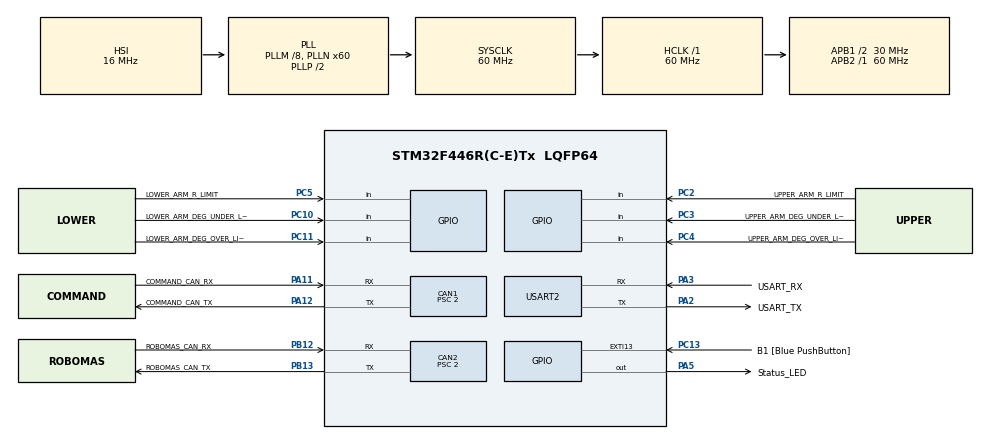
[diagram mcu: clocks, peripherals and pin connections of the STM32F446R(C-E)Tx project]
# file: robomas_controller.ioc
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CAN1.BS1=CAN_BS1_12TQ
CAN1.BS2=CAN_BS2_2TQ
CAN1.CalculateBaudRate=999999
CAN1.CalculateTimeBit=1000
CAN1.CalculateTimeQuantum=66.66666666666667
CAN1.Prescaler=2
CAN2.BS1=CAN_BS1_12TQ
CAN2.BS2=CAN_BS2_2TQ
CAN2.CalculateBaudRate=999999
CAN2.CalculateTimeBit=1000
CAN2.CalculateTimeQuantum=66.66666666666667
CAN2.Prescaler=2
Mcu.Family=STM32F4
Mcu.Name=STM32F446R(C-E)Tx
Mcu.Package=LQFP64
NVIC.CAN1_RX0_IRQn=true\:0\:0\:false\:false\:true\:true\:true\:true
NVIC.CAN2_RX0_IRQn=true\:0\:0\:false\:false\:true\:true\:true\:true
NVIC.PriorityGroup=NVIC_PRIORITYGROUP_0
PA11.GPIO_Label=COMMAND_CAN_RX
PA11.Mode=CAN_Activate
PA11.Signal=CAN1_RX
PA12.GPIO_Label=COMMAND_CAN_TX
PA12.Mode=CAN_Activate
PA12.Signal=CAN1_TX
PA13.GPIO_Label=TMS
PA13.Mode=Serial_Wire
PA13.Signal=SYS_JTMS-SWDIO
PA14.GPIO_Label=TCK
PA14.Mode=Serial_Wire
PA14.Signal=SYS_JTCK-SWCLK
PA2.GPIO_Label=USART_TX
PA2.Mode=Asynchronous
PA2.Signal=USART2_TX
PA3.GPIO_Label=USART_RX
PA3.Mode=Asynchronous
PA3.Signal=USART2_RX
PA5.GPIO_Label=Status_LED
PA5.Signal=GPIO_Output
PB12.GPIO_Label=ROBOMAS_CAN_RX
PB12.Mode=CAN_Activate
PB12.Signal=CAN2_RX
PB13.GPIO_Label=ROBOMAS_CAN_TX
PB13.Mode=CAN_Activate
PB13.Signal=CAN2_TX
PB3.GPIO_Label=SWO
PB3.Signal=SYS_JTDO-SWO
PC10.GPIO_Label=LOWER_ARM_DEG_UNDER_LIMIT
PC10.GPIO_PuPd=GPIO_PULLUP
PC10.Signal=GPIO_Input
PC11.GPIO_Label=LOWER_ARM_DEG_OVER_LIMIT
PC11.GPIO_PuPd=GPIO_PULLUP
PC11.Signal=GPIO_Input
PC13.GPIO_Label=B1 [Blue PushButton]
PC13.GPIO_ModeDefaultEXTI=GPIO_MODE_IT_FALLING
PC13.Signal=GPXTI13
PC14-OSC32_IN.Mode=LSE-External-Oscillator
PC14-OSC32_IN.Signal=RCC_OSC32_IN
PC15-OSC32_OUT.Mode=LSE-External-Oscillator
PC15-OSC32_OUT.Signal=RCC_OSC32_OUT
PC2.GPIO_Label=UPPER_ARM_R_LIMIT
PC2.GPIO_PuPd=GPIO_PULLUP
PC2.Signal=GPIO_Input
PC3.GPIO_Label=UPPER_ARM_DEG_UNDER_LIMIT
PC3.GPIO_PuPd=GPIO_PULLUP
PC3.Signal=GPIO_Input
PC4.GPIO_Label=UPPER_ARM_DEG_OVER_LIMIT
PC4.GPIO_PuPd=GPIO_PULLUP
PC4.Signal=GPIO_Input
PC5.GPIO_Label=LOWER_ARM_R_LIMIT
PC5.GPIO_PuPd=GPIO_PULLUP
PC5.Signal=GPIO_Input
PH0-OSC_IN.Mode=HSE-External-Oscillator
PH0-OSC_IN.Signal=RCC_OSC_IN
PH1-OSC_OUT.Mode=HSE-External-Oscillator
PH1-OSC_OUT.Signal=RCC_OSC_OUT
ProjectManager.HeapSize=0x200
ProjectManager.StackSize=0x400
ProjectManager.TargetToolchain=CMake
RCC.48MHZClocksFreq_Value=84000000
RCC.AHBFreq_Value=60000000
RCC.APB1CLKDivider=RCC_HCLK_DIV2
RCC.APB1Freq_Value=30000000
RCC.APB1TimFreq_Value=60000000
RCC.APB2Freq_Value=60000000
RCC.APB2TimFreq_Value=60000000
RCC.CortexFreq_Value=60000000
RCC.FLatency-AdvancedSettings=FLASH_LATENCY_1
RCC.HCLKFreq_Value=60000000
RCC.HSE_VALUE=8000000
RCC.HSI_VALUE=16000000
RCC.PLLM=8
RCC.PLLN=60
RCC.SYSCLKFreq_VALUE=60000000
RCC.SYSCLKSource=RCC_SYSCLKSOURCE_PLLCLK
RCC.USBFreq_Value=60000000
RCC.VCOOutputFreq_Value=120000000
USART2.VirtualMode=VM_ASYNC
board=NUCLEO-F446RE

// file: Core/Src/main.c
/* USER CODE BEGIN Header */
/**
  ******************************************************************************
  * @file           : main.c
  * @brief          : Main program body
  ******************************************************************************
  * @attention
  *
  * Copyright (c) 2026 STMicroelectronics.
  * All rights reserved.
  *
  * This software is licensed under terms that can be found in the LICENSE file
  * in the root directory of this software component.
  * If no LICENSE file comes with this software, it is provided AS-IS.
  *
  ******************************************************************************
  */
/* USER CODE END Header */
#include "main.h"

/* USER CODE BEGIN Includes */
#include "arm.h"
#include "can_protocol.h"
#include "coordinate.h"
#include "stm32f4xx_hal.h"
#include "stm32f4xx_hal_can.h"
#include "stm32f4xx_hal_gpio.h"
#include "stm_can.h"
#include <math.h>
#include <stdint.h>
#include <string.h>
#include <stdbool.h>
/* USER CODE END Includes */

/* USER CODE BEGIN PTD */
typedef struct
{
    uint16_t angle_raw;

    int32_t total_angle;

    int16_t rpm;
    int16_t current;
    uint8_t temperature;

    uint16_t last_angle; //to calc total_angle

    uint32_t last_update; // 最後に受信した時間 HAL_GetTick()

    bool initialized; //初回ロボマスフィードバックを受けたか
} robomas_feedback_t;

/**
* @param double p;   比例ゲイン
* @param double i;   積分ゲイン
* @param double d;   微分ゲイン
* @param double mv;  manipulated value 操作量
* @param double sv;  set value 目標値
* @param double it;  integral term 積分項 偏差の総和
* @param double pe;  previous error 直前の偏差
* @param double pv;  process value 制御量 フィードバック
* @param uint32_t last_update;   最後に更新した時間 HAL_GetTick()
**/
typedef struct{
  double p;   //比例ゲイン
  double i;   //積分ゲイン
  double d;   //微分ゲイン
  double mv;  //manipulated value 操作量
  double sv;  //set value 目標値
  double it;  //integral term 積分項 偏差の総和
  double pe;  //previous error 直前の偏差
  double pv;  //process value 制御量 フィードバック
  uint32_t last_update;  // 最後に更新した時間 HAL_GetTick()
}pid_t;

/**
* @param ROBOMAS_INITIAL, // 初回起動時状態．何もトルクを送らない
* @param ROBOMAS_HOMING, // 速度制御によって，リミットスイッチ位置まで回転する
* @param ROBOMAS_IDLE,   // ホーミング終了による他のホーミングを待機
* @param ROBOMAS_READY,  // ユーザが制御可能な状態
* @param ROBOMAS_ERROR,  // フィードバックを受け取れず，制御不能な状態
 */
typedef enum{
  ROBOMAS_INITIAL,  // 初回起動時状態
  ROBOMAS_HOMING,   // 速度制御によって，リミットスイッチ位置まで回転する
  ROBOMAS_IDLE,     // ホーミング終了による他のホーミングを待機
  ROBOMAS_READY,    // ユーザが制御可能な状態
  ROBOMAS_ERROR,    // 制御不能状態
}robomas_state_t;

/**
* @param robomas_feedback_t feedback
* @param pid_t rpm_pid   モーターrpmの制御
* @param pid_t ang_pid   モーター角(resolution 8192)の制御
* @param robomas_state_t state     ロボマス制御状態
* @param in32_t total_angle_home 極座標の原点に対応するモーター角(一周あたりの解像度 8192)
* @param int16_t tx_torque     ロボマスへ送るトルク値
* @param double gear_ratio    遊星軸/モーター軸 ギア比
*/
typedef struct{
  robomas_feedback_t feedback;
  pid_t rpm_pid;  //モーターrpmの制御
  pid_t ang_pid;  //モーター角(resolution 8192)の制御
  robomas_state_t state;
  int32_t total_angle_home;//極座標の原点に対応するモーター角(一周あたりの解像度 8192)
  int16_t tx_torque;
  double gear_ratio;  // 遊星軸/モーター軸 ギア比

}robomas_t;

uint32_t upper_homing_start_time;
uint32_t lower_homing_start_time;

//(HOMING -> HOMING_ACK -> ... -> HOMING_DONE -> HOMING_DONE_ACK)
can_sequence_t upper_homing_sequence;
can_sequence_t lower_homing_sequence;

bool upper_homing_done_ack_pending; // HOMING_DONEを送信し，HOMING_DONE_ACK待ちかどうか
bool lower_homing_done_ack_pending;
uint32_t upper_homing_done_sent_time;
uint32_t lower_homing_done_sent_time;
uint8_t upper_homing_done_retry_count;
uint8_t lower_homing_done_retry_count;

// 一度のホーミング試行につき，タイムアウトのCAN_ID_ERROR_CODEは1回しか送らない
bool upper_homing_timeout_notified;
bool lower_homing_timeout_notified;

#define HOMING_DONE_ACK_RETRY_MS 200   //この間隔でHOMING_DONEを再送する
#define HOMING_DONE_ACK_MAX_RETRY 5    //再送を諦めるまでの回数

// Status_LED点滅パターン用
// lowerがREADYでない:+1 upperがREADYでない:+2 (両方でないなら3回点滅) 両方READYなら常時点灯
#define STATUS_LED_BLINK_ON_MS   150
#define STATUS_LED_BLINK_OFF_MS  150
#define STATUS_LED_BLINK_PAUSE_MS 700
uint8_t status_led_blink_index; //現在の点滅サイクルで何回点滅したか
bool status_led_on;
uint32_t status_led_phase_start;
/* USER CODE END PTD */

/* USER CODE BEGIN PD */
#define LOOP_MS 2
#define ROBOMAS_FEEDBACK_TIMEOUT_MS 100

#define ROBOMAS_NUM 4

#define ROBOMAS_MAX_TORQUE 16384 //ロボマスに送れる最大電流値
#define ROBOMAS_M3_GEAR_RATIO (3591.0 / 187.0)//M3508
#define ROBOMAS_M2_GEAR_RATIO 36              //M2006
#define ROBOMAS_ANGLE_RESOLUTION 8192 //0〜8191

// ROBOT_TEAM(出場チーム 青/赤)はcommon/arm/inc/arm.hで定義される。
// ESP32/STM32の全ファームウェアで共有する値なので，このファイルでは再定義しない。

//上下でロボマスの取り付け向きが逆なため，R軸と同様にDEG軸も上下で別定数にして符号を反転する
//(この符号は配線・機構で決まる固定値で，チームによっては変わらない)
#define LOWER_ARM_DEG_ROBOMAS_DIRECTION 1 //上から見て半時計回りが正でモーターは右ねじを正とするとき
#define UPPER_ARM_DEG_ROBOMAS_DIRECTION 1
#define LOWER_ARM_R_ROBOMAS_DIRECTION 1 //アームが伸びる方向が正でモーター右ねじ正
#define UPPER_ARM_R_ROBOMAS_DIRECTION -1

//ToDo: pullupしているので，導通したらRESET，していないならSETになる．リミットスイッチの接続によって変える．
//      リミットスイッチ：COM NO NC の三つのコネクタがあり，COMは常に接続されている．NOはスイッチを押すと導通，NCはスイッチを離すと導通．
#define LOWER_ARM_DEG_UNDER_LIMIT_ON (HAL_GPIO_ReadPin(LOWER_ARM_DEG_UNDER_LIMIT_GPIO_Port, LOWER_ARM_DEG_UNDER_LIMIT_Pin) == GPIO_PIN_RESET)
#define LOWER_ARM_DEG_UNDER_LIMIT_OFF !LOWER_ARM_DEG_UNDER_LIMIT_ON
#define LOWER_ARM_DEG_OVER_LIMIT_ON (HAL_GPIO_ReadPin(LOWER_ARM_DEG_OVER_LIMIT_GPIO_Port, LOWER_ARM_DEG_OVER_LIMIT_Pin) == GPIO_PIN_RESET)

#define LOWER_ARM_R_LIMIT_ON (HAL_GPIO_ReadPin(LOWER_ARM_R_LIMIT_GPIO_Port, LOWER_ARM_R_LIMIT_Pin) == GPIO_PIN_RESET)
#define LOWER_ARM_R_LIMIT_OFF !LOWER_ARM_R_LIMIT_ON

#define UPPER_ARM_DEG_UNDER_LIMIT_ON (HAL_GPIO_ReadPin(UPPER_ARM_DEG_UNDER_LIMIT_GPIO_Port, UPPER_ARM_DEG_UNDER_LIMIT_Pin) == GPIO_PIN_RESET)
#define UPPER_ARM_DEG_UNDER_LIMIT_OFF !UPPER_ARM_DEG_UNDER_LIMIT_ON
#define UPPER_ARM_DEG_OVER_LIMIT_ON (HAL_GPIO_ReadPin(UPPER_ARM_DEG_OVER_LIMIT_GPIO_Port, UPPER_ARM_DEG_OVER_LIMIT_Pin) == GPIO_PIN_RESET)

#define UPPER_ARM_R_LIMIT_ON (HAL_GPIO_ReadPin(UPPER_ARM_R_LIMIT_GPIO_Port, UPPER_ARM_R_LIMIT_Pin) == GPIO_PIN_RESET)
#define UPPER_ARM_R_LIMIT_OFF !UPPER_ARM_R_LIMIT_ON

// 赤/青チームはフィールドが鏡合わせのため整理機構を左右逆側に付け替える必要があり，
// それに合わせてDEG軸(偏角)をどちら側の可動端(リミットスイッチ)を原点として
// ホーミングするかを切り替える(LOWER/UPPER_ARM_DEG_HOME_DEGはcommon/arm/inc/arm.h参照)。
// 赤チーム: 可動域下限(*_DEG_UNDER_LIMIT，整理機構は左)へ向けてホーミングする(従来通り)。
// 青チーム: 可動域上限(*_DEG_OVER_LIMIT，整理機構は右)へ向けてホーミングする。
// ホーミング回転方向は，原点にする側へ実際に向かうよう符号(*_DEG_HOMING_DIRECTION_SIGN)を
// 反転させる。*_DEG_ROBOMAS_DIRECTION(配線で決まる固定値)自体は変えない。
#if ROBOT_TEAM == ROBOT_TEAM_BLUE
#define LOWER_ARM_DEG_HOMING_LIMIT_ON LOWER_ARM_DEG_OVER_LIMIT_ON
#define UPPER_ARM_DEG_HOMING_LIMIT_ON UPPER_ARM_DEG_OVER_LIMIT_ON
#define LOWER_ARM_DEG_HOMING_DIRECTION_SIGN 1
#define UPPER_ARM_DEG_HOMING_DIRECTION_SIGN 1
#else
#define LOWER_ARM_DEG_HOMING_LIMIT_ON LOWER_ARM_DEG_UNDER_LIMIT_ON
#define UPPER_ARM_DEG_HOMING_LIMIT_ON UPPER_ARM_DEG_UNDER_LIMIT_ON
#define LOWER_ARM_DEG_HOMING_DIRECTION_SIGN (-1)
#define UPPER_ARM_DEG_HOMING_DIRECTION_SIGN (-1)
#endif

/* USER CODE END PD */

CAN_HandleTypeDef hcan1;
CAN_HandleTypeDef hcan2;

UART_HandleTypeDef huart2;

/* USER CODE BEGIN PV */
direct_t coordinate[ARM_NUM] = {LOWER_ARM_HOME_COORDINATE, UPPER_ARM_HOME_COORDINATE};
#define coordinate_lower coordinate[0]
#define coordinate_upper coordinate[1]

robomas_t robomas[ROBOMAS_NUM] = {
  { .state = ROBOMAS_INITIAL,
    .gear_ratio = ROBOMAS_M3_GEAR_RATIO,
    .rpm_pid = {
    .p = 10, .i = 0, .d = 0,
  }, .ang_pid = {
    .p = 0.1, .i = 0, .d = 0,
  }},
  { .state = ROBOMAS_INITIAL,
    .gear_ratio = ROBOMAS_M3_GEAR_RATIO,
    .rpm_pid = {
    .p = 10, .i = 0, .d = 0,
  }, .ang_pid = {
    .p = 0.1, .i = 0, .d = 0,
  }},
  { .state = ROBOMAS_INITIAL,
    .gear_ratio = ROBOMAS_M3_GEAR_RATIO,
    .rpm_pid = {
    .p = 10, .i = 0, .d = 0,
  }, .ang_pid = {
    .p = 0.1, .i = 0, .d = 0,
  }},
  { .state = ROBOMAS_INITIAL,
    .gear_ratio = ROBOMAS_M3_GEAR_RATIO,
    .rpm_pid = {
    .p = 10, .i = 0, .d = 0,
  }, .ang_pid = {
    .p = 0.1, .i = 0, .d = 0,
  }},
};
#define robomas_lower_deg robomas[0]
#define robomas_lower_r robomas[1]
#define robomas_upper_deg robomas[2]
#define robomas_upper_r robomas[3]
/* USER CODE END PV */

void SystemClock_Config(void);
static void MX_GPIO_Init(void);
static void MX_CAN1_Init(void);
static void MX_CAN2_Init(void);
static void MX_USART2_UART_Init(void);
/* USER CODE BEGIN PFP */
void command_receive(can_command_data_t *com);
void robomas_receive(uint8_t robomas_id, uint8_t *data);
void pid_reset(pid_t *pid);
/* USER CODE END PFP */

/* USER CODE BEGIN 0 */
void HAL_CAN_RxFifo0MsgPendingCallback(CAN_HandleTypeDef *hcan)
{
  CAN_RxHeaderTypeDef rx_header;
  uint8_t rx_data[8];
  if(HAL_CAN_GetRxMessage(hcan,CAN_RX_FIFO0,&rx_header,rx_data) != HAL_OK)return;
  if (hcan->Instance == COMMAND_CAN) {
    can_command_data_t com = {
      .id = rx_header.StdId,
    };
    memcpy(com.data.raw, rx_data, rx_header.DLC);
    command_receive(&com);
  }else if (hcan->Instance == ROBOMAS_CAN) {
    if (rx_header.IDE != CAN_ID_STD || (rx_header.StdId < 0x201 || rx_header.StdId > 0x204))return;
    uint8_t robomas_id = rx_header.StdId - 0x201; // 201→0, 202→1, 203→2
    robomas_receive(robomas_id, rx_data);
  }
}

void command_receive(can_command_data_t *com){
  switch (com->id) {
  case CAN_ID_LOWER_ARM_COMMAND:
    if(robomas_lower_r.state != ROBOMAS_READY || robomas_lower_deg.state != ROBOMAS_READY)return;
    coordinate_lower.x = com->data.lower_arm.x;
    coordinate_lower.y = com->data.lower_arm.y;
    break;
  case CAN_ID_UPPER_ARM_COMMAND:
    if(robomas_upper_r.state != ROBOMAS_READY || robomas_upper_deg.state != ROBOMAS_READY)return;
    coordinate_upper.x = com->data.upper_arm.x;
    coordinate_upper.y = com->data.upper_arm.y;
    break;
  case CAN_ID_UPPER_HOMING:
    if(!robomas_upper_deg.feedback.initialized || !robomas_upper_r.feedback.initialized)return;
    if(robomas_upper_r.state == ROBOMAS_IDLE || robomas_upper_deg.state == ROBOMAS_IDLE){
      // 既に受理済みの要求の再送(ACK消失)ならACKを返し直す．新規の要求は無視する．
      if(com->data.homing_sequence == upper_homing_sequence){
        stm_can_send(&COMMAND_HCAN, &(can_command_data_t){
          .id = CAN_ID_UPPER_HOMING_ACK,
          .data.homing_sequence = upper_homing_sequence,
        });
      }
      return;
    }
    if(robomas_upper_r.state == ROBOMAS_ERROR || robomas_upper_deg.state == ROBOMAS_ERROR){
      stm_can_send(&COMMAND_HCAN, &(can_command_data_t){
        .id = CAN_ID_ERROR_CODE,
        .data.error_code = CAN_ERROR_UPPER_HOMING_REJECTED,
      });
      return;
    }
    //INITAIL -> HOMING or READY -> HOMING
    upper_homing_sequence = com->data.homing_sequence;
    upper_homing_done_ack_pending = false; // 前回分の再送待ちが残っていたら破棄
    upper_homing_timeout_notified = false;
    pid_reset(&robomas_upper_r.rpm_pid);
    pid_reset(&robomas_upper_deg.rpm_pid);
    robomas_upper_r.state = ROBOMAS_HOMING;
    robomas_upper_deg.state = ROBOMAS_HOMING;
    upper_homing_start_time = HAL_GetTick();

    stm_can_send(&COMMAND_HCAN, &(can_command_data_t){
      .id = CAN_ID_UPPER_HOMING_ACK,
      .data.homing_sequence = upper_homing_sequence,
    });
    break;
  case CAN_ID_LOWER_HOMING:
    if(!robomas_lower_deg.feedback.initialized || !robomas_lower_r.feedback.initialized)return;
    if(robomas_lower_r.state == ROBOMAS_IDLE || robomas_lower_deg.state == ROBOMAS_IDLE){
      // 既に受理済みの要求の再送(ACK消失)ならACKを返し直す．新規の要求は無視する．
      if(com->data.homing_sequence == lower_homing_sequence){
        stm_can_send(&COMMAND_HCAN, &(can_command_data_t){
          .id = CAN_ID_LOWER_HOMING_ACK,
          .data.homing_sequence = lower_homing_sequence,
        });
      }
      return;
    }
    if(robomas_lower_r.state == ROBOMAS_ERROR || robomas_lower_deg.state == ROBOMAS_ERROR){
      stm_can_send(&COMMAND_HCAN, &(can_command_data_t){
        .id = CAN_ID_ERROR_CODE,
        .data.error_code = CAN_ERROR_LOWER_HOMING_REJECTED,
      });
      return;
    }
    //INITAIL -> HOMING or READY -> HOMING
    lower_homing_sequence = com->data.homing_sequence;
    lower_homing_done_ack_pending = false; // 前回分の再送待ちが残っていたら破棄
    lower_homing_timeout_notified = false;
    pid_reset(&robomas_lower_r.rpm_pid);
    pid_reset(&robomas_lower_deg.rpm_pid);
    robomas_lower_r.state = ROBOMAS_HOMING;
    robomas_lower_deg.state = ROBOMAS_HOMING;
    lower_homing_start_time = HAL_GetTick();

    stm_can_send(&COMMAND_HCAN, &(can_command_data_t){
      .id = CAN_ID_LOWER_HOMING_ACK,
      .data.homing_sequence = lower_homing_sequence,
    });
    break;
  case CAN_ID_UPPER_HOMING_DONE_ACK:
    if(com->data.homing_sequence == upper_homing_sequence){
      upper_homing_done_ack_pending = false;
    }
    break;
  case CAN_ID_LOWER_HOMING_DONE_ACK:
    if(com->data.homing_sequence == lower_homing_sequence){
      lower_homing_done_ack_pending = false;
    }
    break;
  default:
    break;
  }
}

void robomas_receive(uint8_t robomas_id, uint8_t *data){
// Robomasterからのフィードバック
  robomas[robomas_id].feedback.angle_raw =   ((uint16_t)data[0] << 8) | data[1];
  robomas[robomas_id].feedback.rpm =         ((int16_t)data[2] << 8) | data[3];
  robomas[robomas_id].feedback.current =     ((int16_t)data[4] << 8) | data[5];
  robomas[robomas_id].feedback.temperature = data[6];

  if(!robomas[robomas_id].feedback.initialized){
    robomas[robomas_id].feedback.total_angle = robomas[robomas_id].feedback.angle_raw;
    robomas[robomas_id].feedback.last_angle = robomas[robomas_id].feedback.angle_raw;
    robomas[robomas_id].feedback.initialized = true;
    robomas[robomas_id].feedback.last_update = HAL_GetTick();
    return;
  }

  int16_t delta = robomas[robomas_id].feedback.angle_raw - robomas[robomas_id].feedback.last_angle;

  if (delta > ROBOMAS_ANGLE_RESOLUTION / 2){
      delta -= ROBOMAS_ANGLE_RESOLUTION;
  }else if (delta < -ROBOMAS_ANGLE_RESOLUTION / 2){
      delta += ROBOMAS_ANGLE_RESOLUTION;
  }

  robomas[robomas_id].feedback.total_angle += delta;
  robomas[robomas_id].feedback.last_angle = robomas[robomas_id].feedback.angle_raw;
  robomas[robomas_id].feedback.last_update = HAL_GetTick();
}

void robomas_send_torque(robomas_t rb[]){
  for(int i = 0; i < ROBOMAS_NUM; i++){
    if(rb[i].tx_torque > ROBOMAS_MAX_TORQUE)rb[i].tx_torque = ROBOMAS_MAX_TORQUE;
    if(rb[i].tx_torque < -ROBOMAS_MAX_TORQUE)rb[i].tx_torque = -ROBOMAS_MAX_TORQUE;
  }
  if(0 < HAL_CAN_GetTxMailboxesFreeLevel(&ROBOMAS_HCAN)){
    CAN_TxHeaderTypeDef TxHeader;
    uint32_t TxMailbox;
    uint8_t TxData[8];
    TxHeader.StdId = 0x200;                 // CAN ID
    TxHeader.RTR = CAN_RTR_DATA;            // フレームタイプはデータフレーム
    TxHeader.IDE = CAN_ID_STD;              // 標準ID(11ﾋﾞｯﾄ)
    TxHeader.DLC = 8;                       // データ長は8バイトに
    TxHeader.TransmitGlobalTime = DISABLE;  // ???
    TxData[0] = rb[0].tx_torque >> 8 & 0x00FF;
    TxData[1] = rb[0].tx_torque & 0x00FF;
    TxData[2] = rb[1].tx_torque >> 8 & 0x00FF;
    TxData[3] = rb[1].tx_torque & 0x00FF;
    TxData[4] = rb[2].tx_torque >> 8 & 0x00FF;
    TxData[5] = rb[2].tx_torque & 0x00FF;
    TxData[6] = rb[3].tx_torque >> 8 & 0x00FF;
    TxData[7] = rb[3].tx_torque & 0x00FF;
    HAL_CAN_AddTxMessage(&ROBOMAS_HCAN, &TxHeader, TxData, &TxMailbox);
  }
}
/**
* @brief 目標値sp,制御量pvに基づいてpid式で操作量mvを計算し，結果をmvに格納する
* @return 操作量を返す
  double p;   //比例ゲイン
  double i;   //積分ゲイン
  double d;   //微分ゲイン
  double mv;  //manipulated value 操作量
  double sv;  //set value 目標値
  double it;  //integral term 積分項 偏差の総和
  double pe;  //previous error 直前の偏差
  double pv;  //process value 制御量 フィードバック
*/
double calc_pid(pid_t *pid){
  uint32_t now = HAL_GetTick();
  if(now == pid->last_update)return pid->mv;
  double delta_sec = (now - pid->last_update)/1000.0;
  double e =  pid->sv - pid->pv; //erro 偏差
  double dt = (e - pid->pe)/delta_sec; //derivative term 微分項
  pid->it += e * delta_sec;
  pid->mv = pid->p * e + pid->i * pid->it + pid->d * dt;
  pid->pe = e;
  pid->last_update = now;
  return pid->mv;
}

/**
* @brief 積分項，直前の偏差，操作量をリセット．last_updateも更新する．
*/
void pid_reset(pid_t *pid){
    pid->it = 0.0;
    pid->pe = 0.0;
    pid->mv = 0.0;
    pid->last_update = HAL_GetTick();
}

/*in main roop begin*/
void upper_homing(){
  // HOMING_DONEを送信済みでHOMING_DONE_ACK待ちの場合，一定時間ごとに再送する
  if(upper_homing_done_ack_pending &&
     HAL_GetTick() - upper_homing_done_sent_time > HOMING_DONE_ACK_RETRY_MS){
    if(upper_homing_done_retry_count < HOMING_DONE_ACK_MAX_RETRY){
      stm_can_send(&COMMAND_HCAN, &(can_command_data_t){
        .id = CAN_ID_UPPER_HOMING_DONE,
        .data.homing_sequence = upper_homing_sequence,
      });
      upper_homing_done_sent_time = HAL_GetTick();
      upper_homing_done_retry_count++;
    }else{
      upper_homing_done_ack_pending = false; //諦める
    }
  }

  if(robomas_upper_r.state == ROBOMAS_READY && robomas_upper_deg.state == ROBOMAS_READY)return;

  if(!upper_homing_timeout_notified &&
     (robomas_upper_deg.state == ROBOMAS_HOMING || robomas_upper_deg.state == ROBOMAS_IDLE ||
      robomas_upper_r.state   == ROBOMAS_HOMING || robomas_upper_r.state   == ROBOMAS_IDLE) &&
     HAL_GetTick() - upper_homing_start_time > HOMING_UPPER_ARM_TIMEOUT_MS){
    // ROBOMAS_ERROR中の軸はrobomas_update()が管理するのでここでは触らない
    if(robomas_upper_deg.state != ROBOMAS_ERROR)robomas_upper_deg.state = ROBOMAS_INITIAL;
    if(robomas_upper_r.state   != ROBOMAS_ERROR)robomas_upper_r.state   = ROBOMAS_INITIAL;

    upper_homing_timeout_notified = true;

    stm_can_send(&COMMAND_HCAN, &(can_command_data_t){
      .id = CAN_ID_ERROR_CODE,
      .data.error_code = CAN_ERROR_UPPER_HOMING_TIMEOUT,
    });
  }

  if(robomas_upper_deg.state == ROBOMAS_HOMING && UPPER_ARM_DEG_HOMING_LIMIT_ON){
    robomas_upper_deg.state = ROBOMAS_IDLE;
    // 原点となる偏角はUPPER_ARM_DEG_HOME_DEG(チームに応じてUNDER/OVERどちらの
    // リミットスイッチかで変わる。common/arm/inc/arm.h参照)。R軸のUPPER_ARM_R_MINオフセットと
    // 同様に，set_robomas_deg_from_coordinate()がtheta=0基準で計算するsvと辻褄が合うよう，
    // ここでtheta=UPPER_ARM_DEG_HOME_DEG分のオフセットをtotal_angle_homeへ焼き込む。
    robomas_upper_deg.total_angle_home = robomas_upper_deg.feedback.total_angle
      - UPPER_ARM_DEG_ROBOMAS_DIRECTION * (UPPER_ARM_DEG_HOME_DEG / 360.0) * POLAR_RATIO * ROBOMAS_ANGLE_RESOLUTION * robomas_upper_deg.gear_ratio;
    pid_reset(&robomas_upper_deg.rpm_pid);
  }

  if(robomas_upper_r.state == ROBOMAS_HOMING && UPPER_ARM_R_LIMIT_ON){
    robomas_upper_r.state = ROBOMAS_IDLE;
    robomas_upper_r.total_angle_home = robomas_upper_r.feedback.total_angle - UPPER_ARM_R_ROBOMAS_DIRECTION * UPPER_ARM_R_MIN / (R_ROBOMAS_DIAMETER * M_PI) * ROBOMAS_ANGLE_RESOLUTION;
    pid_reset(&robomas_upper_r.rpm_pid);
  }

  if(robomas_upper_r.state == ROBOMAS_IDLE && robomas_upper_deg.state == ROBOMAS_IDLE){
    pid_reset(&robomas_upper_r.ang_pid);
    pid_reset(&robomas_upper_deg.ang_pid);

    robomas_upper_r.state = ROBOMAS_READY;
    robomas_upper_deg.state = ROBOMAS_READY;

    stm_can_send(&COMMAND_HCAN, &(can_command_data_t){
      .id = CAN_ID_UPPER_HOMING_DONE,
      .data.homing_sequence = upper_homing_sequence,
    });
    upper_homing_done_ack_pending = true;
    upper_homing_done_sent_time = HAL_GetTick();
    upper_homing_done_retry_count = 0;
    return;
  }
}

void lower_homing(){
  // HOMING_DONEを送信済みでHOMING_DONE_ACK待ちの場合，一定時間ごとに再送する
  if(lower_homing_done_ack_pending &&
     HAL_GetTick() - lower_homing_done_sent_time > HOMING_DONE_ACK_RETRY_MS){
    if(lower_homing_done_retry_count < HOMING_DONE_ACK_MAX_RETRY){
      stm_can_send(&COMMAND_HCAN, &(can_command_data_t){
        .id = CAN_ID_LOWER_HOMING_DONE,
        .data.homing_sequence = lower_homing_sequence,
      });
      lower_homing_done_sent_time = HAL_GetTick();
      lower_homing_done_retry_count++;
    }else{
      lower_homing_done_ack_pending = false; //諦める
    }
  }

  if(robomas_lower_r.state == ROBOMAS_READY && robomas_lower_deg.state == ROBOMAS_READY)return;
  if(!lower_homing_timeout_notified &&
     (robomas_lower_deg.state == ROBOMAS_HOMING || robomas_lower_deg.state == ROBOMAS_IDLE ||
      robomas_lower_r.state   == ROBOMAS_HOMING || robomas_lower_r.state   == ROBOMAS_IDLE) &&
     HAL_GetTick() - lower_homing_start_time > HOMING_LOWER_ARM_TIMEOUT_MS){
    // ROBOMAS_ERROR中の軸はrobomas_update()が管理するのでここでは触らない
    if(robomas_lower_deg.state != ROBOMAS_ERROR)robomas_lower_deg.state = ROBOMAS_INITIAL;
    if(robomas_lower_r.state   != ROBOMAS_ERROR)robomas_lower_r.state   = ROBOMAS_INITIAL;

    lower_homing_timeout_notified = true;

    stm_can_send(&COMMAND_HCAN, &(can_command_data_t){
      .id = CAN_ID_ERROR_CODE,
      .data.error_code = CAN_ERROR_LOWER_HOMING_TIMEOUT,
    });
  }

  if(robomas_lower_deg.state == ROBOMAS_HOMING && LOWER_ARM_DEG_HOMING_LIMIT_ON){
    robomas_lower_deg.state = ROBOMAS_IDLE;
    // 原点となる偏角はLOWER_ARM_DEG_HOME_DEG(チームに応じてUNDER/OVERどちらの
    // リミットスイッチかで変わる。common/arm/inc/arm.h参照。赤チームは0度なのでオフセット無し)。
    robomas_lower_deg.total_angle_home = robomas_lower_deg.feedback.total_angle
      - LOWER_ARM_DEG_ROBOMAS_DIRECTION * (LOWER_ARM_DEG_HOME_DEG / 360.0) * POLAR_RATIO * ROBOMAS_ANGLE_RESOLUTION * robomas_lower_deg.gear_ratio;
    pid_reset(&robomas_lower_deg.rpm_pid);
  }

  if(robomas_lower_r.state == ROBOMAS_HOMING && LOWER_ARM_R_LIMIT_ON){
    robomas_lower_r.state = ROBOMAS_IDLE;
    robomas_lower_r.total_angle_home = robomas_lower_r.feedback.total_angle - LOWER_ARM_R_ROBOMAS_DIRECTION * LOWER_ARM_R_MIN / (R_ROBOMAS_DIAMETER * M_PI) * ROBOMAS_ANGLE_RESOLUTION;
    pid_reset(&robomas_lower_r.rpm_pid);
  }

  if(robomas_lower_r.state == ROBOMAS_IDLE && robomas_lower_deg.state == ROBOMAS_IDLE){
    pid_reset(&robomas_lower_r.ang_pid);
    pid_reset(&robomas_lower_deg.ang_pid);

    robomas_lower_r.state = ROBOMAS_READY;
    robomas_lower_deg.state = ROBOMAS_READY;

    stm_can_send(&COMMAND_HCAN, &(can_command_data_t){
      .id = CAN_ID_LOWER_HOMING_DONE,
      .data.homing_sequence = lower_homing_sequence,
    });
    lower_homing_done_ack_pending = true;
    lower_homing_done_sent_time = HAL_GetTick();
    lower_homing_done_retry_count = 0;
    return;
  }
}

double get_r(robomas_t *rb)
{
    double motor_angle =
        rb->feedback.total_angle - rb->total_angle_home;

    return LOWER_ARM_R_ROBOMAS_DIRECTION
     * motor_angle
     / ROBOMAS_ANGLE_RESOLUTION
     * (R_ROBOMAS_DIAMETER * M_PI);
}

/**
* @brief ホーミングrpmを目標値svにセットする．
* @return 正常なら引数を返す．異常ならNULL．
*/
robomas_t *set_robomas_homing_rpm(robomas_t *rb){
  if(rb == &robomas_lower_deg){
    // *_DEG_HOMING_DIRECTION_SIGNは，チームに応じてホーミング先をUNDER/OVERどちらの
    // リミットスイッチにするか(=ROBOT_TEAM)で符号が変わる。DEG_ROBOMAS_DIRECTIONは
    // 配線・機構で決まる固定値。
    rb->rpm_pid.sv = LOWER_ARM_DEG_HOMING_DIRECTION_SIGN * LOWER_ARM_DEG_ROBOMAS_DIRECTION * HOMING_LOWER_DEG_RPM * rb->gear_ratio;
  }else if(rb == &robomas_upper_deg){
    rb->rpm_pid.sv = UPPER_ARM_DEG_HOMING_DIRECTION_SIGN * UPPER_ARM_DEG_ROBOMAS_DIRECTION * HOMING_UPPER_DEG_RPM * rb->gear_ratio;
  }else if(rb == &robomas_lower_r){
    rb->rpm_pid.sv = -LOWER_ARM_R_ROBOMAS_DIRECTION * HOMING_LOWER_R_RPM * rb->gear_ratio;
  }else if(rb == &robomas_upper_r){
    rb->rpm_pid.sv = -UPPER_ARM_R_ROBOMAS_DIRECTION * HOMING_UPPER_R_RPM * rb->gear_ratio;
  }else{return NULL;}
  return rb;
}
/**
* @brief 座標から偏角(度)を計算する．to_polar()の返り値は[0,2π)にラップされるため，
*        可動域がdeg_min~deg_min+180度で360度(=0度)をまたぐ場合(青チームの場合の
*        UPPER_ARM_DEG_MIN+RANGE=360等)，原点付近でdeg=0とdeg=360近辺の値が不連続に
*        切り替わってしまう。deg_min未満なら360度を足し，可動域内で連続な値になるようにする。
*/
static double polar_deg_unwrapped(direct_t d, double deg_min){
  double deg = to_polar(d).theta / (2 * M_PI) * 360.0;
  if(deg < deg_min) deg += 360.0;
  return deg;
}

/**
* @brief 座標に対応するロボマスの角度(一周あたり8192)を座標から計算し，角度目標値svにセットする．
* @return 正常なら引数を返す．異常ならNULL．
**/
robomas_t *set_robomas_deg_from_coordinate(robomas_t *rb){
  if(rb == &robomas_lower_deg){
    rb->ang_pid.sv = LOWER_ARM_DEG_ROBOMAS_DIRECTION * polar_deg_unwrapped(coordinate_lower, LOWER_ARM_DEG_MIN) / 360.0 * POLAR_RATIO * ROBOMAS_ANGLE_RESOLUTION * rb->gear_ratio;
  }else if(rb == &robomas_lower_r){
    rb->ang_pid.sv = LOWER_ARM_R_ROBOMAS_DIRECTION * to_polar(coordinate_lower).r /(R_ROBOMAS_DIAMETER * M_PI) * ROBOMAS_ANGLE_RESOLUTION * rb->gear_ratio;
  }else if(rb == &robomas_upper_deg){
    rb->ang_pid.sv = UPPER_ARM_DEG_ROBOMAS_DIRECTION * polar_deg_unwrapped(coordinate_upper, UPPER_ARM_DEG_MIN) / 360.0 * POLAR_RATIO * ROBOMAS_ANGLE_RESOLUTION * rb->gear_ratio;
  }else if(rb == &robomas_upper_r){
    rb->ang_pid.sv = UPPER_ARM_R_ROBOMAS_DIRECTION * to_polar(coordinate_upper).r /(R_ROBOMAS_DIAMETER * M_PI) * ROBOMAS_ANGLE_RESOLUTION * rb->gear_ratio;
  }else{return NULL;}
  return rb;
}

/**
* @brief フィードバック途絶によりROBOMAS_ERRORへ遷移した軸を特定するエラーコードを返す．
*/
can_error_t get_lost_control_error_code(robomas_t *rb){
  if(rb == &robomas_lower_r)        return CAN_ERROR_LOWER_R_LOST_CONTROL;
  else if(rb == &robomas_lower_deg) return CAN_ERROR_LOWER_DEG_LOST_CONTROL;
  else if(rb == &robomas_upper_r)   return CAN_ERROR_UPPER_R_LOST_CONTROL;
  else                              return CAN_ERROR_UPPER_DEG_LOST_CONTROL;
}

void robomas_update(robomas_t *rb){
  robomas_state_t prev_state = rb->state;

  if(HAL_GetTick() - rb->feedback.last_update > ROBOMAS_FEEDBACK_TIMEOUT_MS){
    rb->state = ROBOMAS_ERROR;
    if(prev_state != ROBOMAS_ERROR){
      stm_can_send(&COMMAND_HCAN, &(can_command_data_t){
        .id = CAN_ID_ERROR_CODE,
        .data.error_code = get_lost_control_error_code(rb),
      });
    }
  }else if(rb->state == ROBOMAS_ERROR){
    rb->state = ROBOMAS_INITIAL;
  }

  switch(rb->state){
    case ROBOMAS_HOMING:
      set_robomas_homing_rpm(rb);
      break;

    case ROBOMAS_IDLE:
      rb->rpm_pid.sv = 0;
      break;

    case ROBOMAS_READY:
      set_robomas_deg_from_coordinate(rb);
      rb->ang_pid.pv = rb->feedback.total_angle- rb->total_angle_home;
      rb->rpm_pid.sv = calc_pid(&rb->ang_pid);
      break;

    case ROBOMAS_ERROR:
    case ROBOMAS_INITIAL:
    default:
      rb->tx_torque = 0;
      return;

  }
  rb->rpm_pid.pv = rb->feedback.rpm;
  rb->tx_torque = calc_pid(&rb->rpm_pid);
}

/**
* @brief Status_LEDの点滅を管理する．
*        lower/upperそれぞれがREADY(r軸・deg軸とも)でなければ「未ホーミング」とみなす．
*        lowerのみ未ホーミング:1回点滅 upperのみ:2回点滅 両方:3回点滅 両方READY:常時点灯
*        周期的(mainループ毎)に呼び出すこと．
*/
void status_led_update(){
  bool lower_ready = (robomas_lower_r.state == ROBOMAS_READY && robomas_lower_deg.state == ROBOMAS_READY);
  bool upper_ready = (robomas_upper_r.state == ROBOMAS_READY && robomas_upper_deg.state == ROBOMAS_READY);

  if(lower_ready && upper_ready){
    HAL_GPIO_WritePin(Status_LED_GPIO_Port, Status_LED_Pin, GPIO_PIN_SET);
    status_led_blink_index = 0;
    status_led_on = false;
    status_led_phase_start = HAL_GetTick();
    return;
  }

  uint8_t blink_count = (lower_ready ? 0 : 1) + (upper_ready ? 0 : 2);

  uint32_t now = HAL_GetTick();
  uint32_t elapsed = now - status_led_phase_start;

  if(status_led_on){
    if(elapsed >= STATUS_LED_BLINK_ON_MS){
      HAL_GPIO_WritePin(Status_LED_GPIO_Port, Status_LED_Pin, GPIO_PIN_RESET);
      status_led_on = false;
      status_led_phase_start = now;
      status_led_blink_index++;
    }
  }else{
    bool cycle_done = (status_led_blink_index >= blink_count);
    uint32_t off_duration = cycle_done ? STATUS_LED_BLINK_PAUSE_MS : STATUS_LED_BLINK_OFF_MS;

    if(elapsed >= off_duration){
      if(cycle_done)status_led_blink_index = 0; //一巡したので最初から

      HAL_GPIO_WritePin(Status_LED_GPIO_Port, Status_LED_Pin, GPIO_PIN_SET);
      status_led_on = true;
      status_led_phase_start = now;
    }
  }
}

/*in main roop end*/

/* USER CODE END 0 */

int main(void)
{

  /* USER CODE BEGIN 1 */
  uint32_t last_heartbeat = HAL_GetTick();
  /* USER CODE END 1 */

  /* MCU Configuration--------------------------------------------------------*/

  /* Reset of all peripherals, Initializes the Flash interface and the Systick. */
  HAL_Init();

  /* Configure the system clock */
  SystemClock_Config();

  /* Initialize all configured peripherals */
  MX_GPIO_Init();
  MX_CAN1_Init();
  MX_CAN2_Init();
  MX_USART2_UART_Init();
  /* USER CODE BEGIN 2 */

  HAL_CAN_Start(&hcan1);
  HAL_CAN_Start(&hcan2);

  HAL_CAN_ActivateNotification(
      &hcan1,
      CAN_IT_RX_FIFO0_MSG_PENDING
  );

  HAL_CAN_ActivateNotification(
      &hcan2,
      CAN_IT_RX_FIFO0_MSG_PENDING
  );
  /* USER CODE END 2 */

  /* Infinite loop */
  /* USER CODE BEGIN WHILE */
  // ここで全ROBOMAS_NUM分のフィードバックを待つと，一部のロボマスターしか
  // 接続していない状態(例: 動作確認で下アームの2台のみ接続)ではメインループに
  // 一切到達できず，接続済みのロボマスターについても
  // 制御・Heartbeat送信・Status_LED表示等が何も行われない(＝外から見て
  // 「ロボマスがつながっているのにフィードバックを受け取れない」ように見える)．
  // 未接続の軸はrobomas_update()のROBOMAS_FEEDBACK_TIMEOUT_MSタイムアウトにより
  // 自動的にROBOMAS_ERRORへ遷移しCAN_ID_ERROR_CODEで通知されるので，
  // ここで全台の初期化を待つ必要はない．

  for(int i = 0; i < ROBOMAS_NUM; i++){
    pid_reset(&robomas[i].rpm_pid);
    pid_reset(&robomas[i].ang_pid);
  }

  while (1)
  {
    upper_homing();
    lower_homing();

    for(int i = 0; i < ROBOMAS_NUM; i++){
      robomas_update(&robomas[i]);
    }

    robomas_send_torque(robomas);
    status_led_update();

    if(HAL_GetTick() - last_heartbeat > HEARTBEAT_MS){
      last_heartbeat = HAL_GetTick();
      stm_can_send(&COMMAND_HCAN, &(can_command_data_t){.id = CAN_ID_ROBOMAS_CONTROLLER_HEARTBEAT});
    }
    HAL_Delay(LOOP_MS);
    /* USER CODE END WHILE */

  }
}

void SystemClock_Config(void)
{
  RCC_OscInitTypeDef RCC_OscInitStruct = {0};
  RCC_ClkInitTypeDef RCC_ClkInitStruct = {0};

  /** Configure the main internal regulator output voltage
  */
  __HAL_RCC_PWR_CLK_ENABLE();
  __HAL_PWR_VOLTAGESCALING_CONFIG(PWR_REGULATOR_VOLTAGE_SCALE3);

  /** Initializes the RCC Oscillators according to the specified parameters
  * in the RCC_OscInitTypeDef structure.
  */
  RCC_OscInitStruct.OscillatorType = RCC_OSCILLATORTYPE_HSI;
  RCC_OscInitStruct.HSIState = RCC_HSI_ON;
  RCC_OscInitStruct.HSICalibrationValue = RCC_HSICALIBRATION_DEFAULT;
  RCC_OscInitStruct.PLL.PLLState = RCC_PLL_ON;
  RCC_OscInitStruct.PLL.PLLSource = RCC_PLLSOURCE_HSI;
  RCC_OscInitStruct.PLL.PLLM = 8;
  RCC_OscInitStruct.PLL.PLLN = 60;
  RCC_OscInitStruct.PLL.PLLP = RCC_PLLP_DIV2;
  RCC_OscInitStruct.PLL.PLLQ = 2;
  RCC_OscInitStruct.PLL.PLLR = 2;
  if (HAL_RCC_OscConfig(&RCC_OscInitStruct) != HAL_OK)
  {
    Error_Handler();
  }

  /** Initializes the CPU, AHB and APB buses clocks
  */
  RCC_ClkInitStruct.ClockType = RCC_CLOCKTYPE_HCLK|RCC_CLOCKTYPE_SYSCLK
                              |RCC_CLOCKTYPE_PCLK1|RCC_CLOCKTYPE_PCLK2;
  RCC_ClkInitStruct.SYSCLKSource = RCC_SYSCLKSOURCE_PLLCLK;
  RCC_ClkInitStruct.AHBCLKDivider = RCC_SYSCLK_DIV1;
  RCC_ClkInitStruct.APB1CLKDivider = RCC_HCLK_DIV2;
  RCC_ClkInitStruct.APB2CLKDivider = RCC_HCLK_DIV1;

  if (HAL_RCC_ClockConfig(&RCC_ClkInitStruct, FLASH_LATENCY_1) != HAL_OK)
  {
    Error_Handler();
  }
}

static void MX_CAN1_Init(void)
{

  hcan1.Instance = CAN1;
  hcan1.Init.Prescaler = 2;
  hcan1.Init.Mode = CAN_MODE_NORMAL;
  hcan1.Init.SyncJumpWidth = CAN_SJW_1TQ;
  hcan1.Init.TimeSeg1 = CAN_BS1_12TQ;
  hcan1.Init.TimeSeg2 = CAN_BS2_2TQ;
  hcan1.Init.TimeTriggeredMode = DISABLE;
  hcan1.Init.AutoBusOff = DISABLE;
  hcan1.Init.AutoWakeUp = DISABLE;
  hcan1.Init.AutoRetransmission = DISABLE;
  hcan1.Init.ReceiveFifoLocked = DISABLE;
  hcan1.Init.TransmitFifoPriority = DISABLE;
  if (HAL_CAN_Init(&hcan1) != HAL_OK)
  {
    Error_Handler();
  }
  /* USER CODE BEGIN CAN1_Init 2 */
  CAN_FilterTypeDef filter = {0};

  filter.FilterBank = 0;
  filter.SlaveStartFilterBank = 14;
  filter.FilterMode = CAN_FILTERMODE_IDMASK;
  filter.FilterScale = CAN_FILTERSCALE_32BIT;
  filter.FilterIdHigh = 0;
  filter.FilterIdLow = 0;
  filter.FilterMaskIdHigh = 0;
  filter.FilterMaskIdLow = 0;
  filter.FilterFIFOAssignment = CAN_RX_FIFO0;
  filter.FilterActivation = ENABLE;

  HAL_CAN_ConfigFilter(&hcan1, &filter);
  /* USER CODE END CAN1_Init 2 */

}

static void MX_CAN2_Init(void)
{

  hcan2.Instance = CAN2;
  hcan2.Init.Prescaler = 2;
  hcan2.Init.Mode = CAN_MODE_NORMAL;
  hcan2.Init.SyncJumpWidth = CAN_SJW_1TQ;
  hcan2.Init.TimeSeg1 = CAN_BS1_12TQ;
  hcan2.Init.TimeSeg2 = CAN_BS2_2TQ;
  hcan2.Init.TimeTriggeredMode = DISABLE;
  hcan2.Init.AutoBusOff = DISABLE;
  hcan2.Init.AutoWakeUp = DISABLE;
  hcan2.Init.AutoRetransmission = DISABLE;
  hcan2.Init.ReceiveFifoLocked = DISABLE;
  hcan2.Init.TransmitFifoPriority = DISABLE;
  if (HAL_CAN_Init(&hcan2) != HAL_OK)
  {
    Error_Handler();
  }
  /* USER CODE BEGIN CAN2_Init 2 */

  CAN_FilterTypeDef filter = {0};
  filter.FilterBank = 14;
  filter.SlaveStartFilterBank = 14;
  filter.FilterMode = CAN_FILTERMODE_IDMASK;
  filter.FilterScale = CAN_FILTERSCALE_32BIT;
  filter.FilterIdHigh = 0;
  filter.FilterIdLow = 0;
  filter.FilterMaskIdHigh = 0;
  filter.FilterMaskIdLow = 0;
  filter.FilterFIFOAssignment = CAN_RX_FIFO0;
  filter.FilterActivation = ENABLE;

  HAL_CAN_ConfigFilter(&hcan2, &filter);
  /* USER CODE END CAN2_Init 2 */

}

static void MX_USART2_UART_Init(void)
{

  huart2.Instance = USART2;
  huart2.Init.BaudRate = 115200;
  huart2.Init.WordLength = UART_WORDLENGTH_8B;
  huart2.Init.StopBits = UART_STOPBITS_1;
  huart2.Init.Parity = UART_PARITY_NONE;
  huart2.Init.Mode = UART_MODE_TX_RX;
  huart2.Init.HwFlowCtl = UART_HWCONTROL_NONE;
  huart2.Init.OverSampling = UART_OVERSAMPLING_16;
  if (HAL_UART_Init(&huart2) != HAL_OK)
  {
    Error_Handler();
  }

}

static void MX_GPIO_Init(void)
{
  GPIO_InitTypeDef GPIO_InitStruct = {0};

  /* GPIO Ports Clock Enable */
  __HAL_RCC_GPIOC_CLK_ENABLE();
  __HAL_RCC_GPIOH_CLK_ENABLE();
  __HAL_RCC_GPIOA_CLK_ENABLE();
  __HAL_RCC_GPIOB_CLK_ENABLE();

  /*Configure GPIO pin Output Level */
  HAL_GPIO_WritePin(Status_LED_GPIO_Port, Status_LED_Pin, GPIO_PIN_RESET);

  /*Configure GPIO pin : B1_Pin */
  GPIO_InitStruct.Pin = B1_Pin;
  GPIO_InitStruct.Mode = GPIO_MODE_IT_FALLING;
  GPIO_InitStruct.Pull = GPIO_NOPULL;
  HAL_GPIO_Init(B1_GPIO_Port, &GPIO_InitStruct);

  /*Configure GPIO pins : UPPER_ARM_R_LIMIT_Pin UPPER_ARM_DEG_UNDER_LIMIT_Pin UPPER_ARM_DEG_OVER_LIMIT_Pin LOWER_ARM_R_LIMIT_Pin
                           LOWER_ARM_DEG_UNDER_LIMIT_Pin LOWER_ARM_DEG_OVER_LIMIT_Pin */
  GPIO_InitStruct.Pin = UPPER_ARM_R_LIMIT_Pin|UPPER_ARM_DEG_UNDER_LIMIT_Pin|UPPER_ARM_DEG_OVER_LIMIT_Pin|LOWER_ARM_R_LIMIT_Pin
                          |LOWER_ARM_DEG_UNDER_LIMIT_Pin|LOWER_ARM_DEG_OVER_LIMIT_Pin;
  GPIO_InitStruct.Mode = GPIO_MODE_INPUT;
  GPIO_InitStruct.Pull = GPIO_PULLUP;
  HAL_GPIO_Init(GPIOC, &GPIO_InitStruct);

  /*Configure GPIO pin : Status_LED_Pin */
  GPIO_InitStruct.Pin = Status_LED_Pin;
  GPIO_InitStruct.Mode = GPIO_MODE_OUTPUT_PP;
  GPIO_InitStruct.Pull = GPIO_NOPULL;
  GPIO_InitStruct.Speed = GPIO_SPEED_FREQ_LOW;
  HAL_GPIO_Init(Status_LED_GPIO_Port, &GPIO_InitStruct);

}

void Error_Handler(void)
{
  __disable_irq();
  while (1)
  {
  }
}
